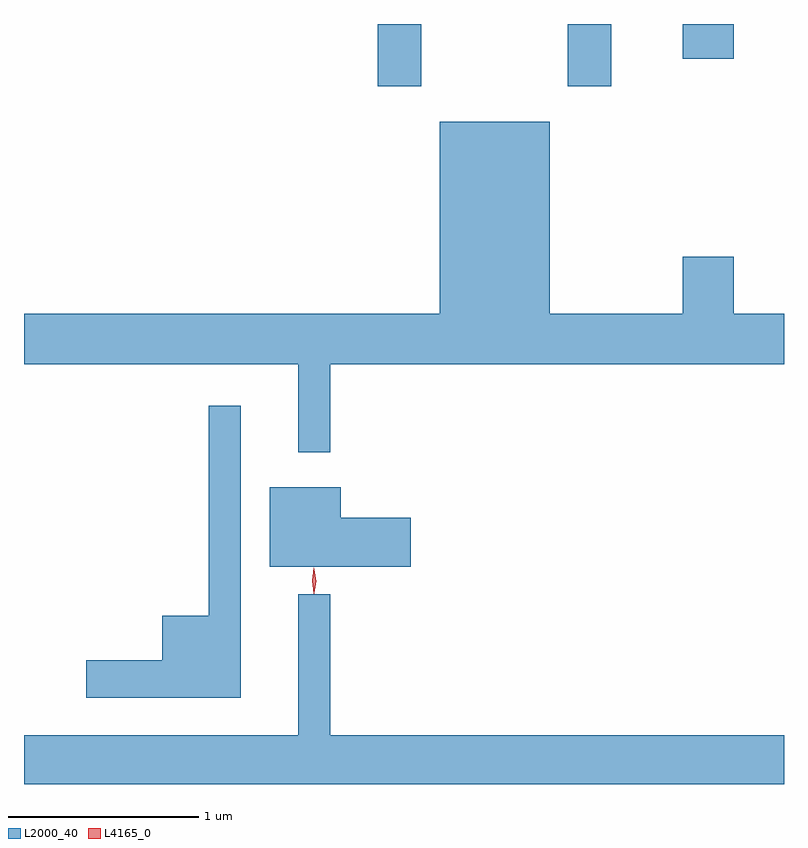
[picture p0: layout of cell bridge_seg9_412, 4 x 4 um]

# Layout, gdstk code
import gdstk
lib = gdstk.Library(unit=1e-6, precision=1e-09)
def R(c, l, rs):  # rectangles x0, y0, x1, y1
    for r in rs: c.add(gdstk.rectangle(r[:2], r[2:], *l))
def P(c, l, *ps):  # polygons
    for p in ps: c.add(gdstk.Polygon(p, *l))
L2000_40 = (2000, 40)
L4165_0 = (4165, 0)

bridge_seg9_412 = lib.new_cell('bridge_seg9_412')
R(bridge_seg9_412, L2000_40, [(413.271,2042.121,413.499,2042.448), (414.271,2042.121,414.499,2042.448), (414.876,2042.266,415.144,2042.448)])
P(bridge_seg9_412, L2000_40, [(413.019,2040.656),(415.408,2040.656),(415.408,2040.924),(415.144,2040.924),(415.144,2041.224),(414.876,2041.224),(414.876,2040.924),(414.174,2040.924),(414.174,2041.934),(413.596,2041.934),(413.596,2040.924),(411.408,2040.924),(411.408,2040.656),(412.851,2040.656),(412.851,2040.193),(413.019,2040.193)],
  [(412.549,2040.438),(412.381,2040.438),(412.381,2039.334),(412.136,2039.334),(412.136,2039.099),(411.736,2039.099),(411.736,2038.901),(412.549,2038.901)],
  [(413.444,2039.849),(413.074,2039.849),(413.074,2040.009),(412.701,2040.009),(412.701,2039.591),(413.444,2039.591)],
  [(415.408,2038.704),(413.019,2038.704),(413.019,2039.448),(412.851,2039.448),(412.851,2038.704),(411.408,2038.704),(411.408,2038.448),(415.408,2038.448)])
P(bridge_seg9_412, L4165_0, [(412.934,2039.45),(412.934,2039.45),(412.924,2039.518),(412.933,2039.586),(412.933,2039.586),(412.934,2039.586),(412.944,2039.518),(412.935,2039.45)],
  [(412.935,2039.453),(412.934,2039.454),(412.925,2039.516),(412.934,2039.579),(412.935,2039.58),(412.935,2039.579),(412.945,2039.516),(412.935,2039.454)])

lib.write_gds('bridge_seg9_412.gds')
